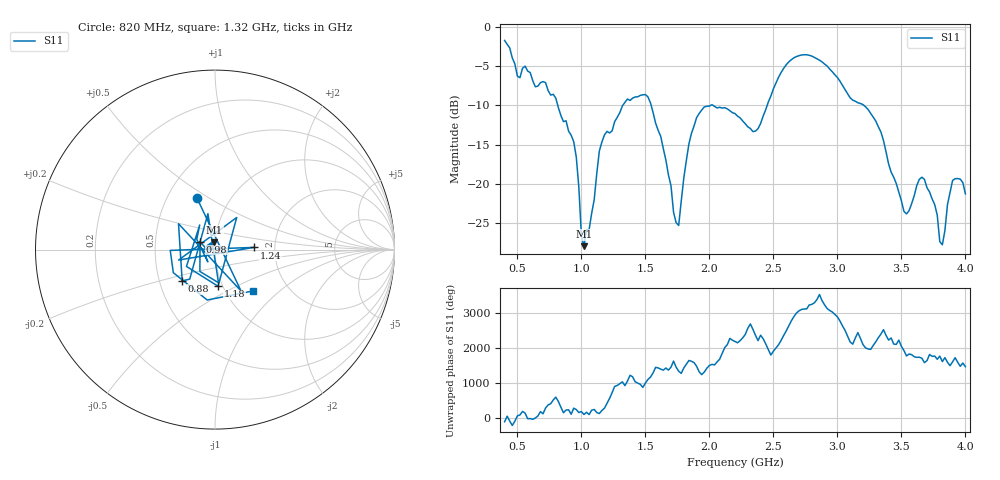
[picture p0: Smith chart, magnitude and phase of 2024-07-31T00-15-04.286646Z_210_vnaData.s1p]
!Created with skrf (http://scikit-rf.org).
# Hz S RI R 50.0
!freq ReS11 ImS11
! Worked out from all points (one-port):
!   181 points, 400 MHz to 4 GHz, reference 50 ohm
!   lowest |S11| = -28.0 dB at 1.02 GHz (marker M1), VSWR 1.08, Z = 49.5 + j3.95 ohm
!   |S11| at or under -10 dB: 815.3 MHz to 1.323 GHz (507.8 MHz wide, 47.5 % of centre); 1.545 GHz to 2.01 GHz (464.8 MHz wide, 26.1 % of centre); 3.207 GHz to end of sweep (the widest 3 of 4)
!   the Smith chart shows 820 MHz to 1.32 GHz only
!   S11 on the Smith chart (normalised r, x): 820 MHz: 0.70, +0.45; 880 MHz: 0.66, -0.24; 980 MHz: 0.84, +0.08; 1.18 GHz: 0.95, -0.41; 1.24 GHz: 1.55, +0.04; 1.32 GHz: 1.34, -0.68
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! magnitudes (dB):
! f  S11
! 400 MHz  -1.7
! 500 MHz  -6.3
! 820 MHz  -10.3
! 860 MHz  -12.1
! 880 MHz  -12.0
! 940 MHz  -14.6
! 980 MHz  -20.5
! 1 GHz  -26.6
! 1.02 GHz  -28.0
! 1.18 GHz  -13.8
! 1.24 GHz  -13.2
! 1.3 GHz  -10.9
! 1.32 GHz  -10.1
! 1.52 GHz  -8.9
! 1.76 GHz  -25.3
! 1.84 GHz  -14.9
! 1.9 GHz  -11.6
! 2.2 GHz  -11.0
! 2.36 GHz  -13.3
! 2.66 GHz  -3.9
! 2.88 GHz  -4.5
! 3.1 GHz  -9.0
! 3.3 GHz  -12.0
! 3.56 GHz  -23.4
! 3.68 GHz  -19.4
! 3.82 GHz  -27.8
! 3.9 GHz  -19.6
! 4 GHz  -21.3
